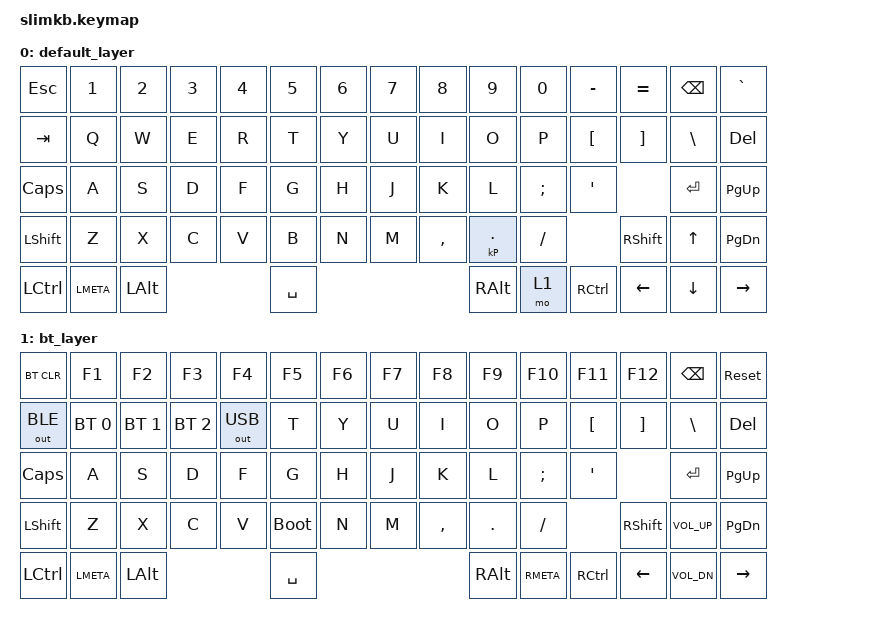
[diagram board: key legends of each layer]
#include <behaviors.dtsi>
#include <dt-bindings/zmk/keys.h>
#include <dt-bindings/zmk/bt.h>
#include <dt-bindings/zmk/outputs.h>

/ {
    keymap {
        compatible = "zmk,keymap";

        default_layer {
            bindings = <
                &kp ESC     &kp N1      &kp N2      &kp N3      &kp N4      &kp N5      &kp N6      &kp N7      &kp N8      &kp N9      &kp N0      &kp MINUS       &kp EQUAL       &kp BSPC        &kp GRAVE
                &kp TAB     &kp Q       &kp W       &kp E       &kp R       &kp T       &kp Y       &kp U       &kp I       &kp O       &kp P       &kp LBKT        &kp RBKT        &kp BSLH        &kp DEL
                &kp CAPS    &kp A       &kp S       &kp D       &kp F       &kp G       &kp H       &kp J       &kp K       &kp L       &kp SEMI    &kp APOS                        &kp ENTER       &kp PG_UP
                &kp LSHFT   &kp Z       &kp X       &kp C       &kp V       &kp B       &kp N       &kp M       &kp COMMA   &kP DOT     &kp SLASH                   &kp RSHFT       &kp UP          &kp PG_DN
                &kp LCTRL   &kp LMETA   &kp LALT                            &kp SPACE                                       &kp RALT    &mo 1       &kp RCTRL       &kp LEFT        &kp DOWN        &kp RIGHT        
            >;
        };

        bt_layer {
            bindings = <
                &bt BT_CLR      &kp F1          &kp F2          &kp F3          &kp F4          &kp F5      &kp F6      &kp F7      &kp F8      &kp F9      &kp F10     &kp F11         &kp F12         &kp BSPC        &sys_reset
                &out OUT_BLE    &bt BT_SEL 0    &bt BT_SEL 1    &bt BT_SEL 2    &out OUT_USB    &kp T       &kp Y       &kp U       &kp I       &kp O       &kp P       &kp LBKT        &kp RBKT        &kp BSLH        &kp DEL
                &kp CAPS        &kp A           &kp S           &kp D           &kp F           &kp G       &kp H       &kp J       &kp K       &kp L       &kp SEMI    &kp APOS                        &kp ENTER       &kp PG_UP
                &kp LSHFT       &kp Z           &kp X           &kp C           &kp V           &bootloader &kp N       &kp M       &kp COMMA   &kp DOT     &kp SLASH                   &kp RSHFT       &kp C_VOL_UP    &kp PG_DN
                &kp LCTRL       &kp LMETA       &kp LALT                                        &kp SPACE                                       &kp RALT    &kp RMETA   &kp RCTRL       &kp LEFT        &kp C_VOL_DN    &kp RIGHT
            >;
        };
    };
};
